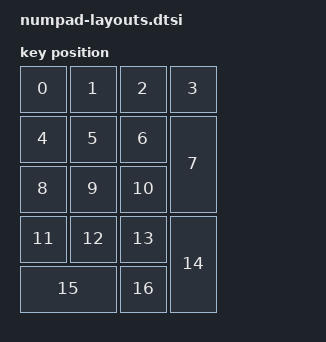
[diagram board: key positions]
#include <physical_layouts.dtsi>


&uart0 {
    status = "okay";
    compatible = "nordic,nrf-uarte";
    current-speed = <115200>;
     pinctrl-0 = <&uart0_default>;
};

/ {
    physical_layout0: physical_layout_0 {
        compatible = "zmk,physical-layout";
        display-name = "numpad";
        kscan = <&kscan0>;
        transform = <&matrix_transform0>;
        
        keys  //                     w   h    x    y     rot    rx    ry
            = <&key_physical_attrs 100 100    0    0       0     0     0>
            , <&key_physical_attrs 100 100  100    0       0     0     0>
            , <&key_physical_attrs 100 100  200    0       0     0     0>
            , <&key_physical_attrs 100 100  300    0       0     0     0>
            , <&key_physical_attrs 100 100    0  100       0     0     0>
            , <&key_physical_attrs 100 100  100  100       0     0     0>
            , <&key_physical_attrs 100 100  200  100       0     0     0>
            , <&key_physical_attrs 100 200  300  100       0     0     0>
            , <&key_physical_attrs 100 100    0  200       0     0     0>
            , <&key_physical_attrs 100 100  100  200       0     0     0>
            , <&key_physical_attrs 100 100  200  200       0     0     0>
            , <&key_physical_attrs 100 100    0  300       0     0     0>
            , <&key_physical_attrs 100 100  100  300       0     0     0>
            , <&key_physical_attrs 100 100  200  300       0     0     0>
            , <&key_physical_attrs 100 200  300  300       0     0     0>
            , <&key_physical_attrs 200 100    0  400       0     0     0>
            , <&key_physical_attrs 100 100  200  400       0     0     0>
            ;
    };
};
